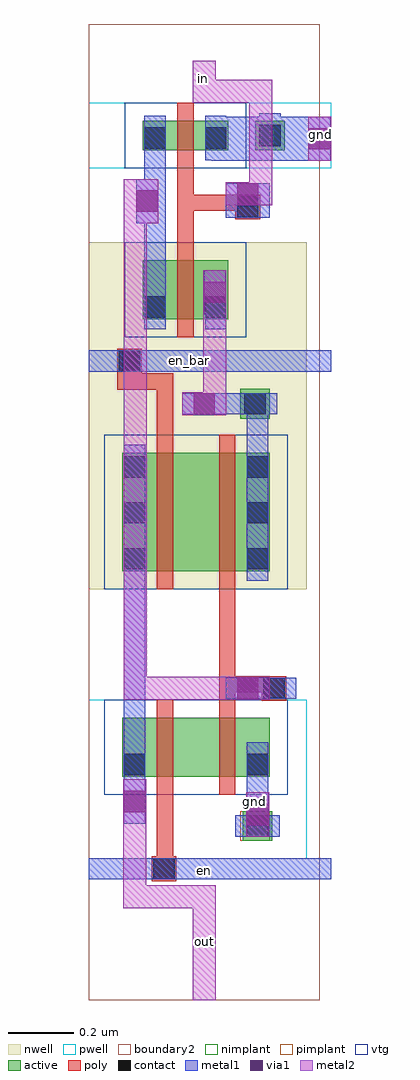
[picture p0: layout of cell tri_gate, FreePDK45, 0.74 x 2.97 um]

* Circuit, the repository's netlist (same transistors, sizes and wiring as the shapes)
.SUBCKT tri_gate in out en en_bar vdd gnd
M_1 net_2 in_inv gnd gnd NMOS_VTG W=180.000000n L=50.000000n
M_2 out en net_2 gnd NMOS_VTG W=180.000000n L=50.000000n
M_3 net_3 in_inv vdd vdd PMOS_VTG W=360.000000n L=50.000000n
M_4 out en_bar net_3 vdd PMOS_VTG W=360.000000n L=50.000000n
M_5 in_inv in vdd vdd PMOS_VTG W=180.000000n L=50.000000n
M_6 in_inv in gnd gnd NMOS_VTG W=90.000000n L=50.000000n
.ENDS

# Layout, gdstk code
import gdstk
lib = gdstk.Library(unit=1e-6, precision=5e-10)
def R(c, l, rs):  # rectangles x0, y0, x1, y1
    for r in rs: c.add(gdstk.rectangle(r[:2], r[2:], *l))
def A(c, l, x, y, w, h, nx, ny, dx, dy):  # array of equal rectangles
    R(c, l, [(x+i*dx, y+j*dy, x+i*dx+w, y+j*dy+h) for i in range(nx) for j in range(ny)])
active = (1, 0)
pwell = (2, 0)
nwell = (3, 0)
nimplant = (4, 0)
pimplant = (5, 0)
vtg = (6, 0)
poly = (9, 0)
contact = (10, 0)
metal1 = (11, 0)
via1 = (12, 0)
metal2 = (13, 0)
boundary2 = (239, 0)

tri_gate = lib.new_cell('tri_gate')
R(tri_gate, active, [(0.47,0.485,0.56,0.575), (0.1025,0.68,0.1775,0.86), (0.1025,0.68,0.1775,0.86), (0.1025,0.68,0.5525,0.86), (0.1025,0.68,0.1775,0.755), (0.255,0.68,0.395,0.86), (0.4775,0.68,0.5525,0.86), (0.4775,0.68,0.5525,0.86), (0.4775,0.68,0.5525,0.755), (0.1025,1.3075,0.1775,1.6675), (0.1025,1.3075,0.1775,1.6675), (0.1025,1.3075,0.5525,1.6675), (0.1025,1.3075,0.1775,1.6625), (0.255,1.3075,0.395,1.6675), (0.4775,1.3075,0.5525,1.6675), (0.4775,1.3075,0.5525,1.6675), (0.4775,1.3075,0.5525,1.6625), (0.4625,1.7725,0.5525,1.8625), (0.165,2.075,0.24,2.255), (0.165,2.075,0.24,2.255), (0.165,2.075,0.24,2.15), (0.165,2.075,0.425,2.255), (0.35,2.075,0.425,2.255), (0.35,2.075,0.425,2.255), (0.35,2.075,0.425,2.15), (0.165,2.59,0.24,2.665), (0.165,2.59,0.24,2.68), (0.165,2.59,0.24,2.68), (0.165,2.59,0.425,2.68), (0.35,2.59,0.425,2.665), (0.35,2.59,0.425,2.68), (0.35,2.59,0.425,2.68), (0.5075,2.59,0.5975,2.68)])
R(tri_gate, pwell, [(0,0.43,0.665,0.915), (0.4075,0.43,0.6075,0.63), (0.0475,0.625,0.6075,0.915), (0,2.535,0.74,2.735), (0.11,2.535,0.48,2.735), (0.4525,2.535,0.6525,2.735)])
R(tri_gate, nwell, [(0,1.2525,0.665,2.31), (0.0475,1.2525,0.6075,1.7225), (0.4075,1.7175,0.6075,1.9175), (0.11,2.02,0.48,2.31)])
R(tri_gate, nimplant, [(0.1025,0.68,0.5525,0.86), (0.4625,1.7725,0.5525,1.8625), (0.165,2.59,0.425,2.68)])
R(tri_gate, pimplant, [(0.4625,0.485,0.5525,0.575), (0.1025,1.3075,0.5525,1.6675), (0.165,2.075,0.425,2.255), (0.5075,2.59,0.5975,2.68)])
R(tri_gate, vtg, [(0.0475,0.625,0.6075,0.915), (0.0475,1.2525,0.6075,1.7225), (0.11,2.02,0.48,2.31), (0.11,2.535,0.48,2.735)])
R(tri_gate, poly, [(0.1925,0.3625,0.2675,0.4375), (0.2075,0.4375,0.2575,0.625), (0.2075,0.625,0.2575,0.68), (0.2075,0.625,0.2575,0.915), (0.3975,0.625,0.4475,0.68), (0.3975,0.625,0.4475,0.915), (0.2075,0.86,0.2575,0.915), (0.3975,0.86,0.4475,0.915), (0.5275,0.9125,0.6025,0.9875), (0.3975,0.915,0.4475,1.2525), (0.4475,0.9375,0.5275,0.9875), (0.2075,1.2525,0.2575,1.7225), (0.2075,1.2525,0.2575,1.3075), (0.3975,1.2525,0.4475,1.7225), (0.3975,1.2525,0.4475,1.3075), (0.2075,1.6675,0.2575,1.7225), (0.3975,1.6675,0.4475,1.7225), (0.2075,1.7225,0.2575,1.91), (0.0875,1.86,0.2075,1.91), (0.0875,1.91,0.1625,1.985), (0.27,2.02,0.32,2.075), (0.27,2.02,0.32,2.31), (0.27,2.255,0.32,2.31), (0.27,2.31,0.32,2.535), (0.4475,2.38,0.5225,2.455), (0.32,2.405,0.5225,2.455), (0.27,2.535,0.32,2.59), (0.27,2.535,0.32,2.735), (0.27,2.68,0.32,2.735)])
A(tri_gate, contact, 0.1075, 1.3125, 0.065, 0.065, 1, 3, 0, 0.14)
A(tri_gate, contact, 0.4825, 1.3125, 0.065, 0.065, 1, 3, 0, 0.14)
R(tri_gate, contact, [(0.1975,0.3675,0.2625,0.4325), (0.4825,0.4975,0.5475,0.5625), (0.1075,0.685,0.1725,0.75), (0.4825,0.685,0.5475,0.75), (0.5325,0.9175,0.5975,0.9825), (0.475,1.785,0.54,1.85), (0.0925,1.915,0.1575,1.98), (0.17,2.08,0.235,2.145), (0.355,2.08,0.42,2.145), (0.4525,2.385,0.5175,2.45), (0.17,2.595,0.235,2.66), (0.355,2.595,0.42,2.66), (0.52,2.6025,0.585,2.6675)])
R(tri_gate, metal1, [(0,0.3675,0.74,0.4325), (0.4475,0.4975,0.5825,0.5625), (0.4825,0.4975,0.5475,0.785), (0.1075,0.5375,0.1725,0.6725), (0.1075,0.65,0.1725,0.785), (0.1075,0.7625,0.1725,1.2775), (0.4175,0.9175,0.5525,0.9825), (0.4975,0.9175,0.6325,0.9825), (0.1075,1.2775,0.1725,1.6925), (0.4825,1.2775,0.5475,1.6925), (0.4825,1.6925,0.5475,1.785), (0.285,1.785,0.42,1.85), (0.285,1.785,0.575,1.85), (0.44,1.785,0.5525,1.85), (0,1.915,0.74,1.98), (0.0575,1.915,0.1925,1.98), (0.2775,1.915,0.34,1.98), (0.17,2.045,0.235,2.18), (0.355,2.045,0.42,2.18), (0.3525,2.09,0.4175,2.225), (0.17,2.175,0.235,2.695), (0.145,2.3675,0.21,2.5025), (0.4175,2.385,0.5525,2.45), (0.4175,2.425,0.5525,2.49), (0.375,2.5575,0.6725,2.6925), (0.6725,2.5575,0.7375,2.6925), (0.17,2.56,0.235,2.695), (0.355,2.56,0.42,2.695), (0.52,2.5675,0.585,2.7025)])
R(tri_gate, via1, [(0.4825,0.5325,0.5475,0.5975), (0.1075,0.5725,0.1725,0.6375), (0.4525,0.9175,0.5175,0.9825), (0.32,1.785,0.385,1.85), (0.3525,2.125,0.4175,2.19), (0.145,2.4025,0.21,2.4675), (0.4525,2.425,0.5175,2.49), (0.6725,2.5925,0.7375,2.6575)])
R(tri_gate, metal2, [(0.3175,0,0.3875,0.35), (0.105,0.28,0.175,0.65), (0.105,0.28,0.3175,0.35), (0.48,0.4975,0.55,0.6325), (0.105,0.5375,0.175,0.6725), (0.1075,0.915,0.1775,2.5025), (0.1775,0.915,0.4175,0.985), (0.4175,0.915,0.5525,0.985), (0.285,1.7825,0.42,1.8525), (0.35,1.8525,0.42,2.09), (0.35,2.09,0.42,2.225), (0.1425,2.3675,0.2125,2.5025), (0.4175,2.4225,0.5525,2.4925), (0.49,2.4225,0.56,2.805), (0.67,2.5575,0.74,2.6925), (0.3175,2.735,0.3875,2.8625), (0.3875,2.735,0.49,2.805)])
R(tri_gate, boundary2, [(0,0,0.705,2.975)])
tri_gate.add(gdstk.Label('en', (0.3525,0.395), layer=11, texttype=0))
tri_gate.add(gdstk.Label('en_bar', (0.3075,1.95), layer=11, texttype=0))
tri_gate.add(gdstk.Label('vdd', (0.395,1.9425), layer=13, texttype=0))
tri_gate.add(gdstk.Label('gnd', (0.505,0.605), layer=13, texttype=0))
tri_gate.add(gdstk.Label('in', (0.35,2.8075), layer=13, texttype=0))
tri_gate.add(gdstk.Label('out', (0.3525,0.1775), layer=13, texttype=0))
tri_gate.add(gdstk.Label('gnd', (0.7075,2.6375), layer=13, texttype=0))

lib.write_gds('tri_gate.gds')
